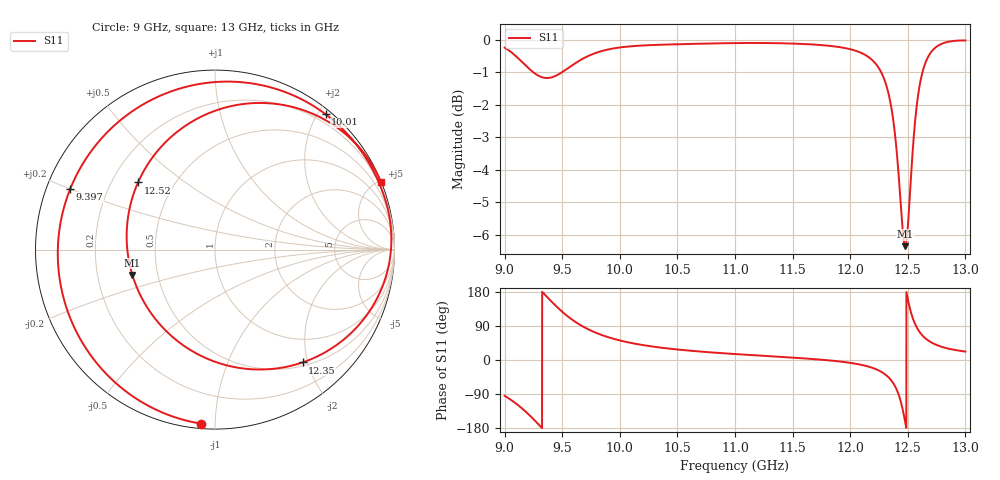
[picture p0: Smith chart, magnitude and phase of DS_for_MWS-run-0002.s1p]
! TOUCHSTONE file generated by CST DESIGN STUDIO
! Date and time: Tue Feb  4 12:42:24 2025
! Project name: C:\Work\MatlabApps\UnitCellOptimizationMatlab\CST\unitcell.cst
! Tree item: Tasks\Sweep1\SPara1\S-Parameters
! Header version: 2024
! Port assignment regex: !\s*Touchstone port\s*([0-9]+)\s*=\s*(CST MWS port|CST DES external port|CST DES block port)\s*(.+)\s* \(\"(.*)\"\)(\s*mode\s*([0-9]+))?.*
! Touchstone port assignment:
! Touchstone port 1 = CST DES external port 1 ("")
# GHz S MA R 50
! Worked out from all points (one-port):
!   4001 points, 9 GHz to 13 GHz, reference 50 ohm
!   lowest |S11| = -6.3 dB at 12.48 GHz (marker M1), VSWR 2.86, Z = 17.8 - j6.56 ohm
!   |S11| at or under -10 dB: nowhere
!   S11 on the Smith chart (normalised r, x): 9 GHz: 0.03, -0.92; 9.397 GHz: 0.07, +0.20; 10.01 GHz: 0.07, +2.11; 12.35 GHz: 0.56, -1.91; 12.52 GHz: 0.31, +0.34; 13 GHz: 0.03, +5.09
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9  0.9727 -94.5
9.124  0.9347 -120.9
9.244  0.8929 -154.1
9.321  0.8763 -178.4
9.397  0.8746 157.3
9.5  0.8919 127.3
9.586  0.9136 106.5
9.683  0.9361 87.8
9.832  0.9597 67.2
10  0.9732 51.6
10.012  0.9738 50.7
10.5  0.9844 27.7
11  0.9884 15.7
11.5  0.9868 6.3
12  0.9672 -7.5
12.229  0.9151 -25.0
12.352  0.7958 -52.2
12.422  0.6152 -92.5
12.449  0.5278 -121.5
12.477  0.4815 -162.9
12.5  0.5149 160.7
12.516  0.5692 138.9
12.548  0.6958 106.4
12.581  0.8011 84.3
12.633  0.8992 62.8
12.691  0.951 48.7
12.81  0.9883 33.4
13  0.9976 22.2
